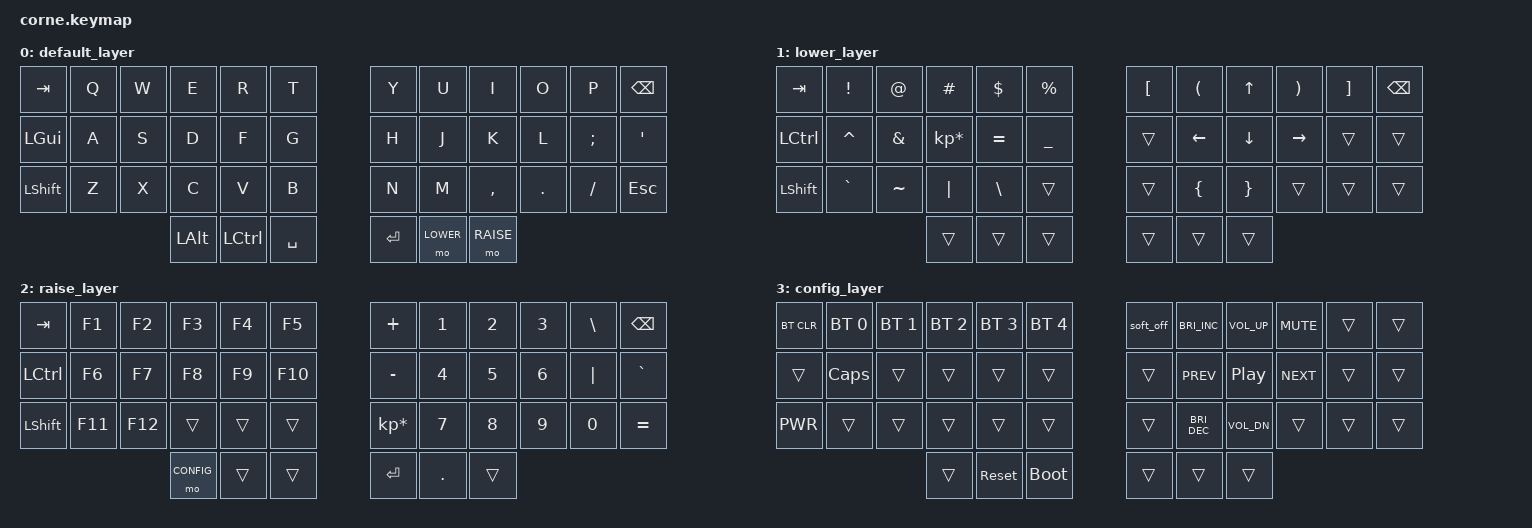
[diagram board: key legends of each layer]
/*
 * Copyright (c) 2020 The ZMK Contributors
 *
 * SPDX-License-Identifier: MIT
 */

#include <behaviors.dtsi>
#include <dt-bindings/zmk/keys.h>
#include <dt-bindings/zmk/bt.h>

#define DEFAULT 0
#define LOWER   1
#define RAISE   2
#define CONFIG  3

/ {
        keymap {
                compatible = "zmk,keymap";

                default_layer {
// -----------------------------------------------------------------------------------------
// |  TAB |  Q  |  W  |  E  |  R  |  T  |   |  Y  |  U   |  I  |  O  |  P  | BKSP |
// | LCTRL |  A  |  S  |  D  |  F  |  G  |   |  H  |  J   |  K  |  L  |  ;  |  '   |
// | SHFT |  Z  |  X  |  C  |  V  |  B  |   |  N  |  M   |  ,  |  .  |  /  | ESC  |
//                    | ALT | LGUI| SPC |   | ENT |  LWR | RSE |
                        bindings = <
   &kp TAB   &kp Q     &kp W     &kp E      &kp R      &kp T       &kp Y &kp U  &kp I     &kp O   &kp P    &kp BSPC
   &kp LGUI  &kp A     &kp S     &kp D      &kp F      &kp G       &kp H &kp J  &kp K     &kp L   &kp SEMI &kp SQT
   &kp LSHFT &kp Z     &kp X     &kp C      &kp V      &kp B       &kp N &kp M  &kp COMMA &kp DOT &kp FSLH &kp ESC
                                 &kp LALT  &kp LCTRL  &kp SPACE    &kp RET      &mo LOWER &mo RAISE
                        >;
                };

                lower_layer {
// -----------------------------------------------------------------------------------------
// |  TAB | ! | @ | # | $ | % |   |  [  |  (  | UP   |  )  |  ]  | BKSP |
// | CTRL | ^ | & | * | = | _ |   |     | LFT | DOWN | RGT |     |      |
// | SHFT | ` | ~ |"|"| \ |   |   |     |  {  |  }   |     |     |      |
//                |   |   |   |   |     |     |      |
                        bindings = <
   &kp  TAB  &kp EXCL  &kp AT    &kp HASH        &kp DLLR  &kp PRCNT &kp LBKT &kp LPAR &kp UP    &kp RPAR  &kp RBKT &kp BSPC
   &kp LCTRL &kp CARET &kp AMPS  &kp KP_MULTIPLY &kp EQUAL &kp UNDER &trans   &kp LEFT &kp DOWN  &kp RIGHT &trans   &trans
   &kp LSHFT &kp GRAVE &kp TILDE &kp PIPE        &kp BSLH  &trans          &trans   &kp LBRC &kp RBRC  &trans    &trans   &trans
                          	 &trans          &trans    &trans          &trans   &trans   &trans
                        >;
                };

                raise_layer {
// -----------------------------------------------------------------------------------------
// |  TAB |F1  | F2  | F3  | F4  | F5  |   |  +  |  1  |  2  |  3  |  \  | BKSP |
// | CTRL |F6  | F7  | F8  | F9  | F10 |   |  -  |  4  |  5  |  6  | "|" |  `   |
// | SHFT |F11 | F12 |     |     |     |   |  *  |  7  |  8  |  9  |  0  |  =   |
//                   | CNF |     |     |   | ENT |  .  |     |
                        bindings = <
   &kp  TAB  &kp F1  &kp F2  &kp F3     &kp F4 &kp F5    &kp PLUS        &kp N1  &kp N2 &kp N3 &kp BSLH  &kp BSPC
   &kp LCTRL &kp F6  &kp F7  &kp F8     &kp F9 &kp F10   &kp MINUS       &kp N4  &kp N5 &kp N6 &kp PIPE  &kp GRAVE
   &kp LSHFT &kp F11 &kp F12 &trans     &trans &trans    &kp KP_MULTIPLY &kp N7  &kp N8 &kp N9 &kp N0    &kp EQUAL
                    	     &mo CONFIG &trans &trans    &kp RET         &kp DOT &trans
                        >;
                };

                config_layer {
// -----------------------------------------------------------------------------------------
// | BTCLR| BT1 | BT2 | BT3 | BT4 | BT5 |   |     |     |      |     |     |      |
// |      | CAPS|     |     |     |     |   |     |     |      |     |     |      |
// | PWR  |     |     |     |     |     |   |     |     |      |     |     |      |
//                    | RST | BOOT|     |   |     |     |      |
                        bindings = <
&bt BT_CLR  &bt BT_SEL 0  &bt BT_SEL 1  &bt BT_SEL 2  &bt BT_SEL 3  &bt BT_SEL 4    &soft_off  &kp C_BRIGHTNESS_INC  &kp C_VOL_UP  &kp C_MUTE     &trans  &trans
&trans      &kp CAPS      &trans        &trans        &trans        &trans          &trans     &kp C_PREV            &kp C_PP      &kp C_NEXT     &trans  &trans
&kp K_PWR   &trans        &trans        &trans        &trans        &trans          &trans     &kp C_BRIGHTNESS_DEC  &kp C_VOL_DN  &trans         &trans  &trans
                                        &trans        &sys_reset    &bootloader     &trans     &trans                &trans
                        >;
                };
        };
};
